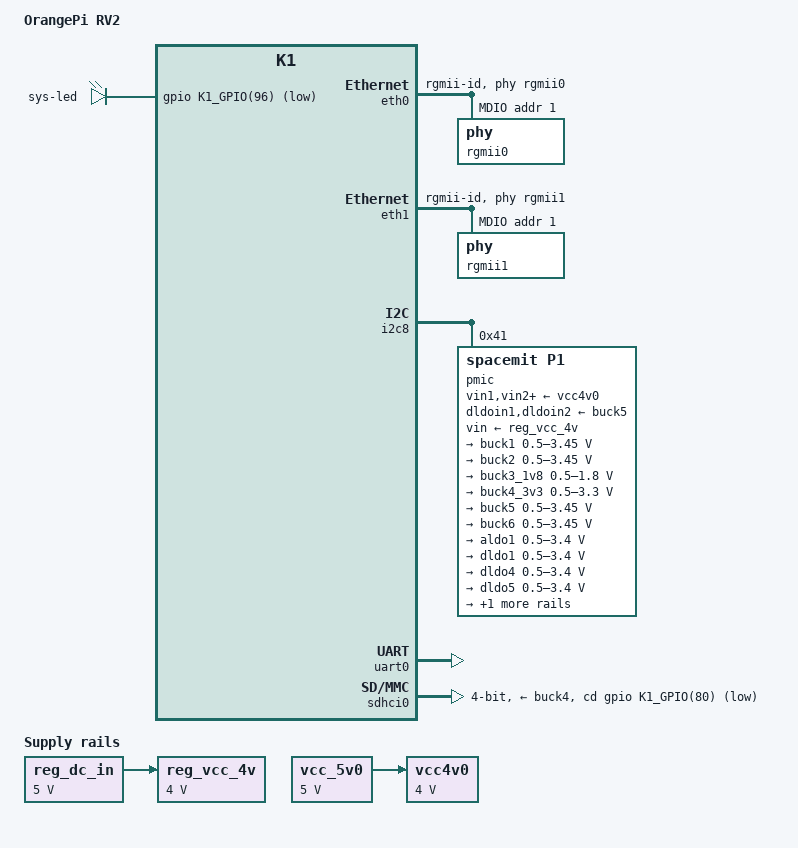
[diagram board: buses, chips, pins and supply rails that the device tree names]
// SPDX-License-Identifier: (GPL-2.0 OR MIT)
/*
 * Copyright (C) 2024 Yangyu Chen <cyy@cyyself.name>
 * Copyright (C) 2025 Hendrik Hamerlinck <hendrik.hamerlinck@hammernet.be>
 */

/dts-v1/;

#include "k1.dtsi"
#include "k1-pinctrl.dtsi"

/ {
	model = "OrangePi RV2";
	compatible = "xunlong,orangepi-rv2", "spacemit,k1";

	aliases {
		serial0 = &uart0;
		ethernet0 = &eth0;
		ethernet1 = &eth1;
	};

	reg_dc_in: dc-in-5v {
		compatible = "regulator-fixed";
		regulator-name = "dc_in_5v";
		regulator-min-microvolt = <5000000>;
		regulator-max-microvolt = <5000000>;
		regulator-boot-on;
		regulator-always-on;
	};

	reg_vcc_4v: vcc-4v {
		compatible = "regulator-fixed";
		regulator-name = "vcc_4v";
		regulator-min-microvolt = <4000000>;
		regulator-max-microvolt = <4000000>;
		regulator-boot-on;
		regulator-always-on;
		vin-supply = <&reg_dc_in>;
	};

	chosen {
		stdout-path = "serial0";
	};

	vcc_5v0: regulator-vcc-5v0 {
		compatible = "regulator-fixed";
		regulator-name = "vcc_5v0";
		regulator-always-on;
		regulator-boot-on;
		regulator-min-microvolt = <5000000>;
		regulator-max-microvolt = <5000000>;
	};

	vcc4v0: regulator-vcc4v0 {
		compatible = "regulator-fixed";
		regulator-name = "vcc4v0";
		regulator-always-on;
		regulator-boot-on;
		regulator-min-microvolt = <4000000>;
		regulator-max-microvolt = <4000000>;
		vin-supply = <&vcc_5v0>;
	};

	leds {
		compatible = "gpio-leds";

		led1 {
			label = "sys-led";
			gpios = <&gpio K1_GPIO(96) GPIO_ACTIVE_LOW>;
			linux,default-trigger = "heartbeat";
			default-state = "on";
		};
	};
};

&eth0 {
	phy-handle = <&rgmii0>;
	phy-mode = "rgmii-id";
	pinctrl-names = "default";
	pinctrl-0 = <&gmac0_cfg>;
	rx-internal-delay-ps = <0>;
	tx-internal-delay-ps = <0>;
	status = "okay";

	mdio-bus {
		#address-cells = <0x1>;
		#size-cells = <0x0>;

		reset-gpios = <&gpio K1_GPIO(110) GPIO_ACTIVE_LOW>;
		reset-delay-us = <10000>;
		reset-post-delay-us = <100000>;

		rgmii0: phy@1 {
			reg = <0x1>;
			motorcomm,auto-sleep-disabled;
		};
	};
};

&eth1 {
	phy-handle = <&rgmii1>;
	phy-mode = "rgmii-id";
	pinctrl-names = "default";
	pinctrl-0 = <&gmac1_cfg>;
	rx-internal-delay-ps = <0>;
	tx-internal-delay-ps = <250>;
	status = "okay";

	mdio-bus {
		#address-cells = <0x1>;
		#size-cells = <0x0>;

		reset-gpios = <&gpio K1_GPIO(115) GPIO_ACTIVE_LOW>;
		reset-delay-us = <10000>;
		reset-post-delay-us = <100000>;

		rgmii1: phy@1 {
			reg = <0x1>;
			motorcomm,auto-sleep-disabled;
		};
	};
};

&pdma {
	status = "okay";
};

&i2c8 {
	pinctrl-names = "default";
	pinctrl-0 = <&i2c8_cfg>;
	status = "okay";

	pmic@41 {
		compatible = "spacemit,p1";
		reg = <0x41>;
		interrupts = <64>;
		vin1-supply = <&vcc4v0>;
		vin2-supply = <&vcc4v0>;
		vin3-supply = <&vcc4v0>;
		vin4-supply = <&vcc4v0>;
		vin5-supply = <&vcc4v0>;
		vin6-supply = <&vcc4v0>;
		aldoin-supply = <&vcc4v0>;
		dldoin1-supply = <&buck5>;
		dldoin2-supply = <&buck5>;

		regulators {
			buck1 {
				regulator-min-microvolt = <500000>;
				regulator-max-microvolt = <3450000>;
				regulator-ramp-delay = <5000>;
				regulator-always-on;
			};

			buck2 {
				regulator-min-microvolt = <500000>;
				regulator-max-microvolt = <3450000>;
				regulator-ramp-delay = <5000>;
				regulator-always-on;
			};

			buck3_1v8: buck3 {
				regulator-min-microvolt = <500000>;
				regulator-max-microvolt = <1800000>;
				regulator-ramp-delay = <5000>;
				regulator-always-on;
			};

			buck4_3v3: buck4 {
				regulator-min-microvolt = <500000>;
				regulator-max-microvolt = <3300000>;
				regulator-ramp-delay = <5000>;
				regulator-always-on;
			};

			buck5: buck5 {
				regulator-min-microvolt = <500000>;
				regulator-max-microvolt = <3450000>;
				regulator-ramp-delay = <5000>;
				regulator-always-on;
			};

			buck6 {
				regulator-min-microvolt = <500000>;
				regulator-max-microvolt = <3450000>;
				regulator-ramp-delay = <5000>;
				regulator-always-on;
			};

			aldo1 {
				regulator-min-microvolt = <500000>;
				regulator-max-microvolt = <3400000>;
				regulator-boot-on;
			};

			aldo2 {
				/* not connected */
			};

			aldo3 {
				/* not connected */
			};

			aldo4 {
				/* not connected */
			};

			dldo1 {
				regulator-min-microvolt = <500000>;
				regulator-max-microvolt = <3400000>;
				regulator-boot-on;
			};

			dldo2 {
				/* not connected */
			};

			dldo3 {
				/* not connected */
			};

			dldo4 {
				regulator-min-microvolt = <500000>;
				regulator-max-microvolt = <3400000>;
				regulator-always-on;
			};

			dldo5 {
				regulator-min-microvolt = <500000>;
				regulator-max-microvolt = <3400000>;
			};

			dldo6 {
				regulator-min-microvolt = <500000>;
				regulator-max-microvolt = <3400000>;
				regulator-always-on;
			};

			dldo7 {
				/* not connected */
			};
		};
	};
};

&uart0 {
	pinctrl-names = "default";
	pinctrl-0 = <&uart0_2_cfg>;
	status = "okay";
};

&i2c8 {
	pinctrl-names = "default";
	pinctrl-0 = <&i2c8_cfg>;
	status = "okay";

	pmic@41 {
		compatible = "spacemit,p1";
		reg = <0x41>;
		interrupts = <64>;
		vin-supply = <&reg_vcc_4v>;

		regulators {
			buck4: buck4 {
				regulator-min-microvolt = <500000>;
				regulator-max-microvolt = <3300000>;
				regulator-ramp-delay = <5000>;
				regulator-always-on;
			};

			aldo1: aldo1 {
				regulator-min-microvolt = <500000>;
				regulator-max-microvolt = <3400000>;
				regulator-boot-on;
				regulator-always-on;
			};
		};
	};
};

&sdhci0 {
	pinctrl-names = "default", "uhs";
	pinctrl-0 = <&mmc1_cfg>;
	pinctrl-1 = <&mmc1_uhs_cfg>;
	bus-width = <4>;
	cd-gpios = <&gpio K1_GPIO(80) GPIO_ACTIVE_HIGH>;
	cd-inverted;
	no-mmc;
	no-sdio;
	disable-wp;
	cap-sd-highspeed;
	vmmc-supply = <&buck4>;
	vqmmc-supply = <&aldo1>;
	sd-uhs-sdr25;
	sd-uhs-sdr50;
	sd-uhs-sdr104;
	status = "okay";
};
